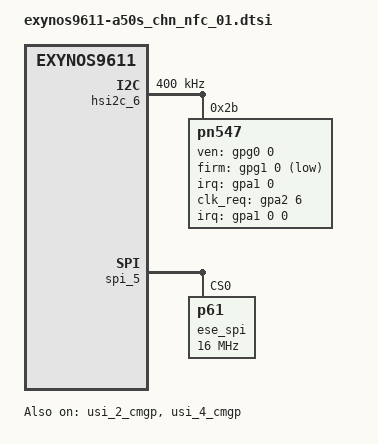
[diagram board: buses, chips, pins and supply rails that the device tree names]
/* Copyright (c) 2013, Samsung Electronics Corporation. All rights reserved.
 *
 * This program is free software; you can redistribute it and/or modify
 * it under the terms of the GNU General Public License version 2 and
 * only version 2 as published by the Free Software Foundation.
 *
 * This program is distributed in the hope that it will be useful,
 * but WITHOUT ANY WARRANTY; without even the implied warranty of
 * MERCHANTABILITY or FITNESS FOR A PARTICULAR PURPOSE.  See the
 * GNU General Public License for more details.
 */

&pinctrl_0 {
	nfc_clk_req: nfc_clk_req {
		samsung,pins = "gpa2-6";
		samsung,pin-pud = <0>;
	 };

	nfc_clk_req_nc: nfc_clk_req_nc {
		samsung,pins = "gpa2-6";
		samsung,pin-function = <0>;
		samsung,pin-pud = <1>;
	 };

	xclkout1_nc: xclkout1_nc {
		samsung,pins = "gpq0-0";
		samsung,pin-function = <0>;
		samsung,pin-pud = <1>;
	};
};

&pinctrl_4 {
	nfc_firm: nfc_firm {
		samsung,pins = "gpg1-0";
		samsung,pin-function = <1>;
		samsung,pin-pud = <0>;
		samsung,pin-val = <0>;
		samsung,pin-con-pdn = <3>;
		samsung,pin-pud-pdn = <0>;
	};

	nfc_en: nfc_en {
		samsung,pins = "gpg0-0";
		samsung,pin-function = <0>;
		samsung,pin-pud = <0>;
		samsung,pin-drv = <0>;
		samsung,pin-con-pdn = <3>;
		samsung,pin-pud-pdn = <0>;
	};

	nfc_pwr_en: nfc_pwr_en {
		samsung,pins = "gpg2-0";
		samsung,pin-function = <1>;
		samsung,pin-pud = <0>;
		samsung,pin-val = <0>;
		samsung,pin-con-pdn = <3>;
		samsung,pin-pud-pdn = <0>;
	};

	nfc_check: nfc-check {
		samsung,pins = "gpg0-3";
		samsung,pin-function = <0>;
		samsung,pin-pud = <0>;
		samsung,pin-pud-pdn = <0>;
	};

	nfc_firm_nc: nfc_firm_nc {
		samsung,pins = "gpg1-0";
		samsung,pin-function = <0>;
		samsung,pin-pud = <1>;
		samsung,pin-con-pdn = <2>;
		samsung,pin-pud-pdn = <1>;
	};

	nfc_en_nc: nfc_en_nc {
		samsung,pins = "gpg0-0";
		samsung,pin-function = <0>;
		samsung,pin-pud = <1>;
		samsung,pin-con-pdn = <2>;
		samsung,pin-pud-pdn = <1>;
	};

	nfc_pwr_en_nc: nfc_pwr_en_nc {
		samsung,pins = "gpg2-0";
		samsung,pin-function = <0>;
		samsung,pin-pud = <1>;
		samsung,pin-con-pdn = <2>;
		samsung,pin-pud-pdn = <1>;
	};
};

&pinctrl_1 {
	spi5_bus_suspend: spi5-bus-suspend {
		samsung,pins = "gpm16-0", "gpm17-0", "gpm18-0", "gpm19-0";
		samsung,pin-function = <1>;
		samsung,pin-drv = <0>;
		samsung,pin-pud = <1>;
		samsung,pin-val = <0>;
	 };
};

/* USI_2_CMGP */
&usi_2_cmgp {
	/*	usi_v2_mode = "i2c" or "spi" or "uart"	*/
	usi_v2_mode = "i2c";
	status = "okay";
};
&hsi2c_6 {
	#address-cells = <1>;
	#size-cells = <0>;
	status = "okay";
	clock-frequency = <400000>;
	samsung,reset-before-trans;

	pn547@2B {
		compatible = "pn547";
		reg = <0x2B>;

		interrupts = <0 0 0>;
		interrupt-parent = <&gpa1>;

		pn547,ven-gpio = <&gpg0 0 0>;
		pn547,firm-gpio = <&gpg1 0 1>;
		pn547,irq-gpio = <&gpa1 0 0>;
		pn547,check_nfc = <&gpg0 3 0>;
		pn547,clk_req-gpio = <&gpa2 6 0>;

		pn547,pwr_req = <&gpg2 0 0>;
		
		pn547,ldo_control;
		pn547,nfc_pvdd = "vdd_ldo39";

		clocks = <&clock OSC_NFC>;
		clock-names = "oscclk_nfc";
		clkctrl-reg = <0x11860a0c>;
		pn547,nfc_ap_clk;

		pinctrl-names = "default", "nfc_nc";
		pinctrl-0 = <&nfc_en &nfc_firm &nfc_pwr_en_nc &xclkout1 &nfc_clk_req &nfc_check>;
		pinctrl-1 = <&nfc_en_nc &nfc_firm_nc &nfc_pwr_en_nc &nfc_clk_req_nc &xclkout1_nc>;
	};
};

/* USI_4_CMGP */
&usi_4_cmgp {
	usi_v2_mode = "spi";
	status = "okay";
};
&spi_5 {
	status = "okay";
	#address-cells = <1>;
	#size-cells = <0>;
	/delete-property/ pinctrl-names;
	/delete-property/ pinctrl-0;
	pinctrl-names = "ese_on", "ese_off";
	pinctrl-0 = <&spi5_bus &spi5_cs_func>;
	pinctrl-1 = <&spi5_bus_suspend>;

	ese_spi@0 {
		compatible = "p61";
		reg = <0>;
		spi-max-frequency = <16000000>;
		
		p61-ap_vendor = "slsi";
		p61-spi_node = <&spi_5>;

		clocks = <&clock GATE_USI_CMGP04_QCH>, <&clock CMGP04_USI>;
		clock-names = "pclk", "sclk";

		controller-data {
			samsung,spi-feedback-delay = <0>;
			samsung,spi-chip-select-mode = <0>;
		};
	};
};
